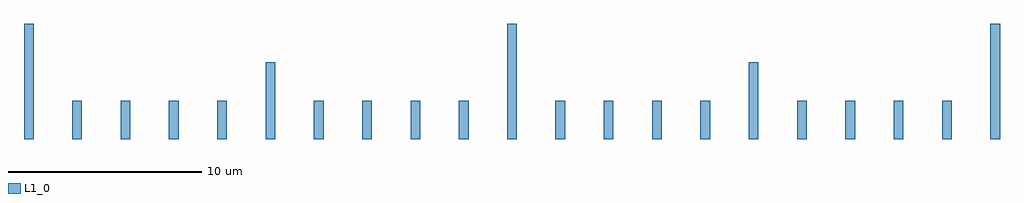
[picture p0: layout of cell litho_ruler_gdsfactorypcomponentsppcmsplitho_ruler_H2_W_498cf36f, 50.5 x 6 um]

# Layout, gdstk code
import gdstk
lib = gdstk.Library(unit=1e-6, precision=1e-09)
def R(c, l, rs):  # rectangles x0, y0, x1, y1
    for r in rs: c.add(gdstk.rectangle(r[:2], r[2:], *l))
L1_0 = (1, 0)

rectangle_gdsfactorypcom = lib.new_cell('rectangle_gdsfactorypcomponentspshapesprectangle_S0p5_6_c88bb9ce')
R(rectangle_gdsfactorypcom, L1_0, [(0,0,0.5,6)])

c_rectangle_gdsfactorypcom = lib.new_cell('rectangle_gdsfactorypcomponentspshapesprectangle_S0p5_2_04850913')
R(c_rectangle_gdsfactorypcom, L1_0, [(0,0,0.5,2)])

c_rectangle_gdsfactorypcom_ = lib.new_cell('rectangle_gdsfactorypcomponentspshapesprectangle_S0p5_4_b315d65e')
R(c_rectangle_gdsfactorypcom_, L1_0, [(0,0,0.5,4)])

litho_ruler_gdsfactorypc = lib.new_cell('litho_ruler_gdsfactorypcomponentsppcmsplitho_ruler_H2_W_498cf36f')
litho_ruler_gdsfactorypc.add(gdstk.Reference(rectangle_gdsfactorypcom, (-25.25,0)))
litho_ruler_gdsfactorypc.add(gdstk.Reference(c_rectangle_gdsfactorypcom, (-22.75,0)))
litho_ruler_gdsfactorypc.add(gdstk.Reference(c_rectangle_gdsfactorypcom, (-20.25,0)))
litho_ruler_gdsfactorypc.add(gdstk.Reference(c_rectangle_gdsfactorypcom, (-17.75,0)))
litho_ruler_gdsfactorypc.add(gdstk.Reference(c_rectangle_gdsfactorypcom, (-15.25,0)))
litho_ruler_gdsfactorypc.add(gdstk.Reference(c_rectangle_gdsfactorypcom_, (-12.75,0)))
litho_ruler_gdsfactorypc.add(gdstk.Reference(c_rectangle_gdsfactorypcom, (-10.25,0)))
litho_ruler_gdsfactorypc.add(gdstk.Reference(c_rectangle_gdsfactorypcom, (-7.75,0)))
litho_ruler_gdsfactorypc.add(gdstk.Reference(c_rectangle_gdsfactorypcom, (-5.25,0)))
litho_ruler_gdsfactorypc.add(gdstk.Reference(c_rectangle_gdsfactorypcom, (-2.75,0)))
litho_ruler_gdsfactorypc.add(gdstk.Reference(rectangle_gdsfactorypcom, (-0.25,0)))
litho_ruler_gdsfactorypc.add(gdstk.Reference(c_rectangle_gdsfactorypcom, (2.25,0)))
litho_ruler_gdsfactorypc.add(gdstk.Reference(c_rectangle_gdsfactorypcom, (4.75,0)))
litho_ruler_gdsfactorypc.add(gdstk.Reference(c_rectangle_gdsfactorypcom, (7.25,0)))
litho_ruler_gdsfactorypc.add(gdstk.Reference(c_rectangle_gdsfactorypcom, (9.75,0)))
litho_ruler_gdsfactorypc.add(gdstk.Reference(c_rectangle_gdsfactorypcom_, (12.25,0)))
litho_ruler_gdsfactorypc.add(gdstk.Reference(c_rectangle_gdsfactorypcom, (14.75,0)))
litho_ruler_gdsfactorypc.add(gdstk.Reference(c_rectangle_gdsfactorypcom, (17.25,0)))
litho_ruler_gdsfactorypc.add(gdstk.Reference(c_rectangle_gdsfactorypcom, (19.75,0)))
litho_ruler_gdsfactorypc.add(gdstk.Reference(c_rectangle_gdsfactorypcom, (22.25,0)))
litho_ruler_gdsfactorypc.add(gdstk.Reference(rectangle_gdsfactorypcom, (24.75,0)))

lib.write_gds('litho_ruler_gdsfactorypcomponentsppcmsplitho_ruler_H2_W_498cf36f.gds')
